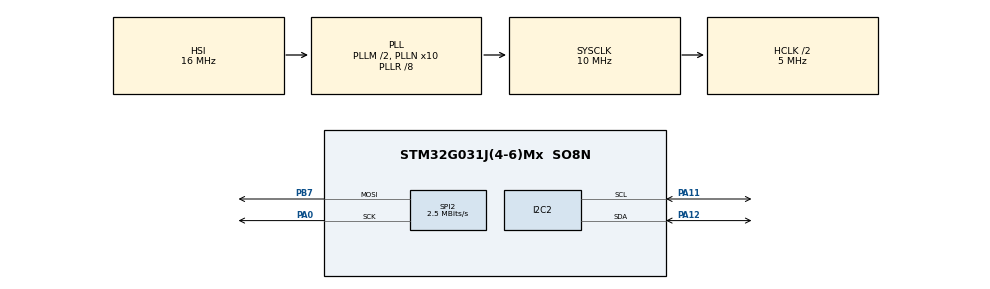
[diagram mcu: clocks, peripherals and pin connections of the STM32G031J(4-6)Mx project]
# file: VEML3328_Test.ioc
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Dma.Request0=SPI2_TX
Dma.SPI2_TX.0.Direction=DMA_MEMORY_TO_PERIPH
Dma.SPI2_TX.0.EventEnable=DISABLE
Dma.SPI2_TX.0.Instance=DMA1_Channel1
Dma.SPI2_TX.0.MemDataAlignment=DMA_MDATAALIGN_BYTE
Dma.SPI2_TX.0.MemInc=DMA_MINC_ENABLE
Dma.SPI2_TX.0.Mode=DMA_NORMAL
Dma.SPI2_TX.0.PeriphDataAlignment=DMA_PDATAALIGN_BYTE
Dma.SPI2_TX.0.PeriphInc=DMA_PINC_DISABLE
Dma.SPI2_TX.0.Polarity=HAL_DMAMUX_REQ_GEN_RISING
Dma.SPI2_TX.0.Priority=DMA_PRIORITY_LOW
Dma.SPI2_TX.0.RequestNumber=1
Dma.SPI2_TX.0.SignalID=NONE
Dma.SPI2_TX.0.SyncEnable=DISABLE
Dma.SPI2_TX.0.SyncPolarity=HAL_DMAMUX_SYNC_NO_EVENT
Dma.SPI2_TX.0.SyncRequestNumber=1
Dma.SPI2_TX.0.SyncSignalID=NONE
I2C2.Timing=0x00101319
Mcu.Family=STM32G0
Mcu.Name=STM32G031J(4-6)Mx
Mcu.Package=SO8N
NVIC.DMA1_Channel1_IRQn=true\:0\:0\:false\:false\:true\:false\:true\:true
PA0.GPIO_Speed=GPIO_SPEED_FREQ_HIGH
PA0.Mode=TX_Only_Simplex_Unidirect_Master
PA0.Signal=SPI2_SCK
PA11\ [PA9].Mode=I2C
PA11\ [PA9].Signal=I2C2_SCL
PA12\ [PA10].Mode=I2C
PA12\ [PA10].Signal=I2C2_SDA
PA14-BOOT0__PA15__PB5__PB6.StandardMode=true
PB0__PB1__PA8__PA11\ [PA9].StandardMode=true
PB7.GPIO_Speed=GPIO_SPEED_FREQ_HIGH
PB7.Mode=TX_Only_Simplex_Unidirect_Master
PB7.Signal=SPI2_MOSI
PC14-OSC32_IN\ (PC14)__PB7__PB8__PB9.StandardMode=true
PF2\ -\ NRST__PA0__PA1__PA2.StandardMode=true
ProjectManager.HeapSize=0x200
ProjectManager.StackSize=0x400
ProjectManager.TargetToolchain=STM32CubeIDE
RCC.ADCFreq_Value=10000000
RCC.AHBCLKDivider=RCC_SYSCLK_DIV2
RCC.AHBFreq_Value=5000000
RCC.CortexFreq_Value=5000000
RCC.EXTERNAL_CLOCK_VALUE=12288000
RCC.HCLKFreq_Value=5000000
RCC.HSE_VALUE=8000000
RCC.HSI_VALUE=16000000
RCC.LSE_VALUE=32768
RCC.PLLM=RCC_PLLM_DIV2
RCC.PLLN=10
RCC.PLLR=RCC_PLLR_DIV8
RCC.SYSCLKFreq_VALUE=10000000
RCC.SYSCLKSource=RCC_SYSCLKSOURCE_PLLCLK
RCC.VCOOutputFreq_Value=80000000
SPI2.CalculateBaudRate=2.5 MBits/s
SPI2.Direction=SPI_DIRECTION_2LINES
SPI2.Mode=SPI_MODE_MASTER
SPI2.NSSPMode=SPI_NSS_PULSE_DISABLE
SPI2.VirtualType=VM_MASTER
board=STM32G0316-DISCO

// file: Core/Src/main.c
/* USER CODE BEGIN Header */
/**
 ******************************************************************************
 * @file           : main.c
 * @brief          : Main program body
 ******************************************************************************
 * @attention
 *
 * Copyright (c) 2022 STMicroelectronics.
 * All rights reserved.
 *
 * This software is licensed under terms that can be found in the LICENSE file
 * in the root directory of this software component.
 * If no LICENSE file comes with this software, it is provided AS-IS.
 *
 ******************************************************************************
 */
/* USER CODE END Header */
#include "main.h"

/* USER CODE BEGIN Includes */

#include "VEML3328.h"
#include "Display.h"
#include "WS2815B.h"

/* USER CODE END Includes */

 I2C_HandleTypeDef hi2c2;

SPI_HandleTypeDef hspi2;
DMA_HandleTypeDef hdma_spi2_tx;

void SystemClock_Config(void);
static void MX_GPIO_Init(void);
static void MX_I2C2_Init(void);
static void MX_DMA_Init(void);
static void MX_SPI2_Init(void);

/* USER CODE BEGIN 0 */
void DrawProgressBar(int row, int percent) {
	percent /= 2;

	Display_SetPixelBuffer(11, row, 0x3F);
	int i = 0;
	for (i = 0; i < percent && i < 50; i++) {
		Display_SetPixelBuffer(i + 12, row, 0x3F);
	}
	for (; i < 50; i++) {
		Display_SetPixelBuffer(i + 12, row, 0x21);
	}
	Display_SetPixelBuffer(62, row, 0x3F);
}
/* USER CODE END 0 */

int main(void)
{
  /* USER CODE BEGIN 1 */
	VEML3328_Status vemlStatus;
	VEML3328_Configuration vemlConfig;
  /* USER CODE END 1 */

  /* MCU Configuration--------------------------------------------------------*/

  /* Reset of all peripherals, Initializes the Flash interface and the Systick. */
  HAL_Init();

  /* Configure the system clock */
  SystemClock_Config();

  /* Initialize all configured peripherals */
  MX_GPIO_Init();
  MX_I2C2_Init();
  MX_DMA_Init();
  MX_SPI2_Init();
  /* USER CODE BEGIN 2 */

	GPIO_InitTypeDef sclClockOutGpioMode;
	sclClockOutGpioMode.Mode = GPIO_MODE_OUTPUT_OD;
	sclClockOutGpioMode.Pin = GPIO_PIN_11;
	sclClockOutGpioMode.Alternate = GPIO_AF6_I2C2;
	sclClockOutGpioMode.Pull = GPIO_PULLUP;
	sclClockOutGpioMode.Speed = GPIO_SPEED_FREQ_LOW;
	HAL_GPIO_Init(GPIOA, &sclClockOutGpioMode);

	for (int i = 0; i < 20; i++) {
		HAL_GPIO_WritePin(GPIOA, GPIO_PIN_11, 0);
		HAL_Delay(10);
		HAL_GPIO_WritePin(GPIOA, GPIO_PIN_11, 1);
		HAL_Delay(10);
	}

	sclClockOutGpioMode.Mode = GPIO_MODE_AF_OD;
	HAL_GPIO_Init(GPIOA, &sclClockOutGpioMode);

	vemlStatus = VEML3328_Init();
	if (vemlStatus) {
		HAL_Delay(10);
		HAL_NVIC_SystemReset();
	}

	Display_Init();

	// print R G B C IR letter
	Display_PrintString(0, 0, "R:");
	Display_PrintString(0, 1, "G:");
	Display_PrintString(0, 2, "B:");
	Display_PrintString(0, 3, "C:");
	Display_PrintString(0, 4, "IR:");
	Display_SendBuffer();

	VEML3328_GetDefaultConfiguration(&vemlConfig);
	vemlConfig.shutdownMode = VEML3328_ShutdownMode_PowerOn;
	//vemlConfig.digitalGain = VEML3328_DigitalGain_4;
	vemlConfig.analogGain = VEML3328_AnalogGain_2;
	//vemlConfig.channelEnable = VEML3328_ChannelEnable_GCIR;
	vemlConfig.integrationTime = VEML3328_IntegrationTime_100ms;
	vemlStatus = VEML3328_SetConfiguration(&vemlConfig);
	if (vemlStatus) {
		__BKPT(0);
	}

	WS2815B_Init();
	uint8_t whiteLevel = 0;
	for (int i = 0; i < WS2815B_MAX_LEDS; i++) {
		WS2815B_SetColor(i, whiteLevel, whiteLevel, whiteLevel);
	}
	WS2815B_SendsData();
	HAL_Delay(10);
	WS2815B_SendsData();

	uint16_t lastR, lastG, lastB, lastC, lastIr;

	float whiteBalancingRCoef = 1;
	float whiteBalancingGCoef = 1;
	float whiteBalancingBCoef = 1;

	uint16_t minimumC = 65535;

  /* USER CODE END 2 */

  /* Infinite loop */
	while (1) {

    /* USER CODE BEGIN 3 */

		uint16_t r, g, b, c, ir;

		vemlStatus = VEML3328_ReadRGBCIR(&r, &g, &b, &c, &ir);
		if (vemlStatus) {
			__BKPT(0);
		}

		if (r != lastR || g != lastG || b != lastB || c != lastC || ir != lastIr) {
			lastR = r;
			lastG = g;
			lastB = b;
			lastC = c;
			lastIr = ir;

			/*
			if (c < minimumC && c > 100) {
				minimumC = c;
			}
			*/
			if (c > 100 && minimumC == 65535) {
				minimumC = c;
			}

			float balancedR = whiteBalancingRCoef * (float) r;
			float balancedG = whiteBalancingGCoef * (float) g;
			float balancedB = whiteBalancingBCoef * (float) b;

			float fullScale = 5000;
			DrawProgressBar(0, (int) (100 * balancedR / fullScale));
			DrawProgressBar(1, (int) (100 * balancedG / fullScale));
			DrawProgressBar(2, (int) (100 * balancedB / fullScale));
			DrawProgressBar(3, (int) (100 * (float) c / fullScale));
			DrawProgressBar(4, (int) (100 * (float) ir / fullScale));
			Display_ClearLine(5);

			if (c > (float)minimumC * 1.5) {
				float maxVal = balancedR;
				if (balancedG > maxVal) {
					maxVal = balancedG;
				}
				if (balancedB > maxVal) {
					maxVal = balancedB;
				}

				uint8_t color = 0;
				if (balancedR / (float)maxVal > 0.8) {
					color |= 0b001;
				}
				if (balancedG / (float)maxVal > 0.8) {
					color |= 0b010;
				}
				if (balancedB / (float)maxVal > 0.8) {
					color |= 0b100;
				}

				switch (color) {
				case 0b001:
					Display_PrintString(0, 5, "COLOR: RED");
					break;
				case 0b010:
					Display_PrintString(0, 5, "COLOR: GREEN");
					break;
				case 0b100:
					Display_PrintString(0, 5, "COLOR: BLUE");
					break;
				case 0b011:
					Display_PrintString(0, 5, "COLOR: YELLOW");
					break;
				case 0b110:
					Display_PrintString(0, 5, "COLOR: CYAN");
					break;
				case 0b101:
					Display_PrintString(0, 5, "COLOR: MAGENTA");
					break;
				case 0b111:
					Display_PrintString(0, 5, "COLOR: WHITE");
					break;
				}
			}

			Display_SendBuffer();

			WS2815B_SendsData();
		}

		GPIO_InitTypeDef btn;
		btn.Mode = GPIO_MODE_INPUT;
		btn.Alternate = 0;
		btn.Pin = GPIO_PIN_1;
		btn.Pull = GPIO_NOPULL;
		btn.Speed = GPIO_SPEED_FREQ_LOW;
		HAL_GPIO_Init(GPIOA, &btn);

		// white ballancing
		if (HAL_GPIO_ReadPin(GPIOA, GPIO_PIN_1) == 0) {
			uint16_t max = lastR;
			if (lastG > max) {
				max = lastG;
			}
			if (lastB > max) {
				max = lastB;
			}

			whiteBalancingRCoef = max / (float)lastR;
			whiteBalancingGCoef = max / (float)lastG;
			whiteBalancingBCoef = max / (float)lastB;
		}

		HAL_Delay(1);

	}
  /* USER CODE END 3 */
}

void SystemClock_Config(void)
{
  RCC_OscInitTypeDef RCC_OscInitStruct = {0};
  RCC_ClkInitTypeDef RCC_ClkInitStruct = {0};

  /** Configure the main internal regulator output voltage
  */
  HAL_PWREx_ControlVoltageScaling(PWR_REGULATOR_VOLTAGE_SCALE1);

  /** Initializes the RCC Oscillators according to the specified parameters
  * in the RCC_OscInitTypeDef structure.
  */
  RCC_OscInitStruct.OscillatorType = RCC_OSCILLATORTYPE_HSI;
  RCC_OscInitStruct.HSIState = RCC_HSI_ON;
  RCC_OscInitStruct.HSIDiv = RCC_HSI_DIV1;
  RCC_OscInitStruct.HSICalibrationValue = RCC_HSICALIBRATION_DEFAULT;
  RCC_OscInitStruct.PLL.PLLState = RCC_PLL_ON;
  RCC_OscInitStruct.PLL.PLLSource = RCC_PLLSOURCE_HSI;
  RCC_OscInitStruct.PLL.PLLM = RCC_PLLM_DIV2;
  RCC_OscInitStruct.PLL.PLLN = 10;
  RCC_OscInitStruct.PLL.PLLP = RCC_PLLP_DIV2;
  RCC_OscInitStruct.PLL.PLLQ = RCC_PLLQ_DIV2;
  RCC_OscInitStruct.PLL.PLLR = RCC_PLLR_DIV8;
  if (HAL_RCC_OscConfig(&RCC_OscInitStruct) != HAL_OK)
  {
    Error_Handler();
  }

  /** Initializes the CPU, AHB and APB buses clocks
  */
  RCC_ClkInitStruct.ClockType = RCC_CLOCKTYPE_HCLK|RCC_CLOCKTYPE_SYSCLK
                              |RCC_CLOCKTYPE_PCLK1;
  RCC_ClkInitStruct.SYSCLKSource = RCC_SYSCLKSOURCE_PLLCLK;
  RCC_ClkInitStruct.AHBCLKDivider = RCC_SYSCLK_DIV2;
  RCC_ClkInitStruct.APB1CLKDivider = RCC_HCLK_DIV1;

  if (HAL_RCC_ClockConfig(&RCC_ClkInitStruct, FLASH_LATENCY_0) != HAL_OK)
  {
    Error_Handler();
  }
}

static void MX_I2C2_Init(void)
{

  hi2c2.Instance = I2C2;
  hi2c2.Init.Timing = 0x00101319;
  hi2c2.Init.OwnAddress1 = 0;
  hi2c2.Init.AddressingMode = I2C_ADDRESSINGMODE_7BIT;
  hi2c2.Init.DualAddressMode = I2C_DUALADDRESS_DISABLE;
  hi2c2.Init.OwnAddress2 = 0;
  hi2c2.Init.OwnAddress2Masks = I2C_OA2_NOMASK;
  hi2c2.Init.GeneralCallMode = I2C_GENERALCALL_DISABLE;
  hi2c2.Init.NoStretchMode = I2C_NOSTRETCH_DISABLE;
  if (HAL_I2C_Init(&hi2c2) != HAL_OK)
  {
    Error_Handler();
  }

  /** Configure Analogue filter
  */
  if (HAL_I2CEx_ConfigAnalogFilter(&hi2c2, I2C_ANALOGFILTER_ENABLE) != HAL_OK)
  {
    Error_Handler();
  }

  /** Configure Digital filter
  */
  if (HAL_I2CEx_ConfigDigitalFilter(&hi2c2, 0) != HAL_OK)
  {
    Error_Handler();
  }

}

static void MX_SPI2_Init(void)
{

  /* SPI2 parameter configuration*/
  hspi2.Instance = SPI2;
  hspi2.Init.Mode = SPI_MODE_MASTER;
  hspi2.Init.Direction = SPI_DIRECTION_2LINES;
  hspi2.Init.DataSize = SPI_DATASIZE_8BIT;
  hspi2.Init.CLKPolarity = SPI_POLARITY_LOW;
  hspi2.Init.CLKPhase = SPI_PHASE_1EDGE;
  hspi2.Init.NSS = SPI_NSS_SOFT;
  hspi2.Init.BaudRatePrescaler = SPI_BAUDRATEPRESCALER_2;
  hspi2.Init.FirstBit = SPI_FIRSTBIT_MSB;
  hspi2.Init.TIMode = SPI_TIMODE_DISABLE;
  hspi2.Init.CRCCalculation = SPI_CRCCALCULATION_DISABLE;
  hspi2.Init.CRCPolynomial = 7;
  hspi2.Init.CRCLength = SPI_CRC_LENGTH_DATASIZE;
  hspi2.Init.NSSPMode = SPI_NSS_PULSE_DISABLE;
  if (HAL_SPI_Init(&hspi2) != HAL_OK)
  {
    Error_Handler();
  }

}

static void MX_DMA_Init(void)
{

  /* DMA controller clock enable */
  __HAL_RCC_DMA1_CLK_ENABLE();

  /* DMA interrupt init */
  /* DMA1_Channel1_IRQn interrupt configuration */
  HAL_NVIC_SetPriority(DMA1_Channel1_IRQn, 0, 0);
  HAL_NVIC_EnableIRQ(DMA1_Channel1_IRQn);

}

static void MX_GPIO_Init(void)
{

  /* GPIO Ports Clock Enable */
  __HAL_RCC_GPIOB_CLK_ENABLE();
  __HAL_RCC_GPIOA_CLK_ENABLE();

}

void Error_Handler(void)
{
	__disable_irq();
	while (1) {
	}
}
